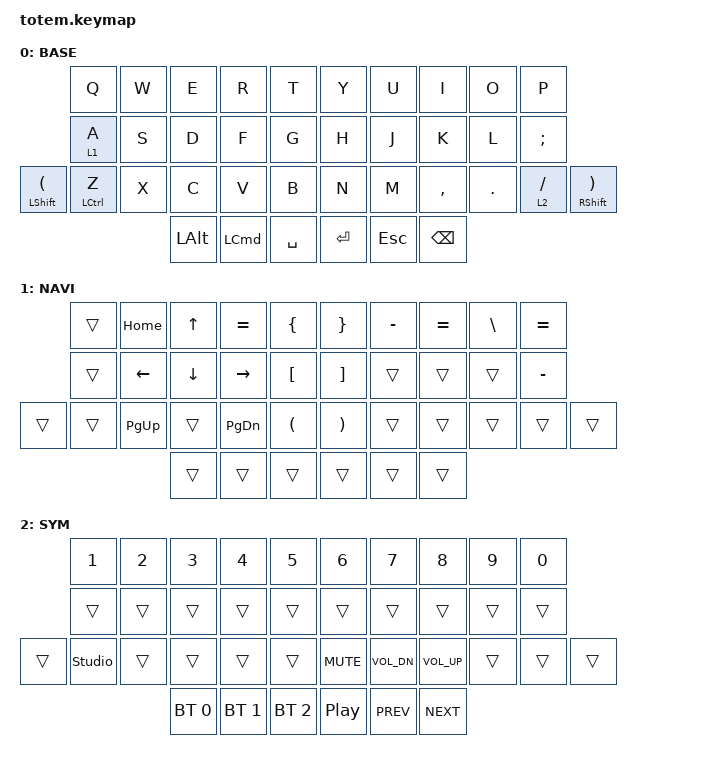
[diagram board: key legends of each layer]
/*
 * Copyright (c) 2020 The ZMK Contributors
 *
 * SPDX-License-Identifier: MIT
 */

#include <behaviors.dtsi>
#include <dt-bindings/zmk/bt.h>
#include <dt-bindings/zmk/keys.h>

/ {
    // combos {
    //    compatible = "zmk,combos";
    // 
    //    combo_esc {
    //        timeout-ms = <50>;
    //        key-positions = <0 1>;
    //        bindings = <&kp ESC>;
    //    };
    //
    //    combo_tvp {
    //        timeout-ms = <100>;
    //        key-positions = <11 12 13>;
    //        bindings = <&tog TVP1>;
    //    };
    //};
    //macros {
    //    gif: gif {
    //        label = "giphy";
    //        compatible = "zmk,behavior-macro";
    //        #binding-cells = <0>;
    //        bindings =
    //            <&macro_press>,
    //            <&kp LSHFT>,
    //            <&macro_tap>,
    //            <&kp N2>,
    //            <&macro_release>,
    //            <&kp LSHFT>,
    //            <&macro_tap>,
    //            <&kp G &kp I &kp F>;
    //    };
    //};

    keymap {
        compatible = "zmk,keymap";

        // ▄▄▄▄▄▄▄▄▄▄▄▄▄▄▄▄▄▄▄▄▄▄▄▄▄▄▄▄▄▄▄▄▄▄▄▄▄▄▄▄▄▄▄▄▄▄▄▄▄▄▄▄▄▄▄▄▄▄▄▄▄▄▄▄▄▄▄▄▄▄▄▄▄▄▄▄▄▄▄▄▄▄▄▄▄▄▄▄▄▄▄▄▄▄▄▄▄▄▄▄▄▄▄▄▄▄▄▄▄▄▄▄▄▄▄▄▄▄▄▄▄▄▄▄▄▄▄▄▄▄▄▄▄▄▄▄▄▄▄▄▄▄▄▄▄▄▄▄▄

        base_layer {
            // ┏━━━━━━━━━━━━━━━━━━━━━━━━━━━━━━━━━━━━━━━┓

            label = "BASE";

            // ┗━━━━━━━━━━━━━━━━━━━━━━━━━━━━━━━━━━━━━━━┛
            //             ┏━━━━━━━━━━━┳━━━━━━━━━━━┳━━━━━━━━━━━┳━━━━━━━━━━━┳━━━━━━━━━━━┓   ┏━━━━━━━━━━━┳━━━━━━━━━━━┳━━━━━━━━━━━┳━━━━━━━━━━━┳━━━━━━━━━━━┓
            //             ┃     Q     ┃     W     ┃     F     ┃     P     ┃     G     ┃   ┃     J     ┃     L     ┃     U     ┃     Y     ┃     ;     ┃
            //             ┣━━━━━━━━━━━╋━━━━━━━━━━━╋━━━━━━━━━━━╋━━━━━━━━━━━╋━━━━━━━━━━━┫   ┣━━━━━━━━━━━╋━━━━━━━━━━━╋━━━━━━━━━━━╋━━━━━━━━━━━╋━━━━━━━━━━━┫
            //             ┃     A     ┃     R     ┃     S     ┃     T     ┃     D     ┃   ┃     H     ┃     N     ┃     E     ┃     I     ┃     O     ┃
            // ┏━━━━━━━━━━━╋━━━━━━━━━━━╋━━━━━━━━━━━╋━━━━━━━━━━━╋━━━━━━━━━━━╋━━━━━━━━━━━┫   ┣━━━━━━━━━━━╋━━━━━━━━━━━╋━━━━━━━━━━━╋━━━━━━━━━━━╋━━━━━━━━━━━╋━━━━━━━━━━━┓
            // ┃     Q     ┃     Z     ┃     X     ┃     C     ┃     V     ┃     B     ┃   ┃     K     ┃     M     ┃     ,     ┃     .     ┃     /     ┃     \     ┃
            // ┗━━━━━━━━━━━┻━━━━━━━━━━━┻━━━━━━━━━━━╋━━━━━━━━━━━╋━━━━━━━━━━━╋━━━━━━━━━━━┫   ┣━━━━━━━━━━━╋━━━━━━━━━━━╋━━━━━━━━━━━╋━━━━━━━━━━━┻━━━━━━━━━━━┻━━━━━━━━━━━┛
            //                                     ┃    DEL    ┃    TAB    ┃    SPC    ┃   ┃   ENTER   ┃           ┃   BSPC    ┃
            //                                     ┗━━━━━━━━━━━┻━━━━━━━━━━━┻━━━━━━━━━━━┛   ┗━━━━━━━━━━━┻━━━━━━━━━━━┻━━━━━━━━━━━┛

            bindings = <
                                 &kp Q               &kp W  &kp E         &kp R             &kp T        &kp Y    &kp U        &kp I      &kp O    &kp P
                                 &lt 1 A             &kp S  &kp D         &kp F             &kp G        &kp H    &kp J        &kp K      &kp L    &kp SEMICOLON
&mt LEFT_SHIFT LEFT_PARENTHESIS  &mt LEFT_CONTROL Z  &kp X  &kp C         &kp V             &kp B        &kp N    &kp M        &kp COMMA  &kp DOT  &lt 2 FSLH     &mt RIGHT_SHIFT RIGHT_PARENTHESIS
                                                            &kp LEFT_ALT  &kp LEFT_COMMAND  &kp SPACE    &kp RET  &kp ESC      &kp BSPC
            >;
        };

        // ▄▄▄▄▄▄▄▄▄▄▄▄▄▄▄▄▄▄▄▄▄▄▄▄▄▄▄▄▄▄▄▄▄▄▄▄▄▄▄▄▄▄▄▄▄▄▄▄▄▄▄▄▄▄▄▄▄▄▄▄▄▄▄▄▄▄▄▄▄▄▄▄▄▄▄▄▄▄▄▄▄▄▄▄▄▄▄▄▄▄▄▄▄▄▄▄▄▄▄▄▄▄▄▄▄▄▄▄▄▄▄▄▄▄▄▄▄▄▄▄▄▄▄▄▄▄▄▄▄▄▄▄▄▄▄▄▄▄▄▄▄▄▄▄▄▄▄▄▄

        nav_layer {
            // ┏━━━━━━━━━━━━━━━━━━━━━━━━━━━━━━━━━━━━━━━┓

            label = "NAVI";

            // ┗━━━━━━━━━━━━━━━━━━━━━━━━━━━━━━━━━━━━━━━┛
            //             ┏━━━━━━━━━━━┳━━━━━━━━━━━┳━━━━━━━━━━━┳━━━━━━━━━━━┳━━━━━━━━━━━┓   ┏━━━━━━━━━━━┳━━━━━━━━━━━┳━━━━━━━━━━━┳━━━━━━━━━━━┳━━━━━━━━━━━┓
            //             ┃           ┃           ┃     UP    ┃           ┃     {     ┃   ┃     }     ┃     7     ┃     8     ┃     9     ┃     +     ┃
            //             ┣━━━━━━━━━━━╋━━━━━━━━━━━╋━━━━━━━━━━━╋━━━━━━━━━━━╋━━━━━━━━━━━┫   ┣━━━━━━━━━━━╋━━━━━━━━━━━╋━━━━━━━━━━━╋━━━━━━━━━━━╋━━━━━━━━━━━┫
            //             ┃   SHIFT   ┃   LEFT    ┃    DOWN   ┃   RIGHT   ┃     [     ┃   ┃     ]     ┃     4     ┃     5     ┃     6     ┃     -     ┃
            // ┏━━━━━━━━━━━╋━━━━━━━━━━━╋━━━━━━━━━━━╋━━━━━━━━━━━╋━━━━━━━━━━━╋━━━━━━━━━━━┫   ┣━━━━━━━━━━━╋━━━━━━━━━━━╋━━━━━━━━━━━╋━━━━━━━━━━━╋━━━━━━━━━━━╋━━━━━━━━━━━┓
            // ┃           ┃           ┃   P UP    ┃  C LOCK   ┃  P DOWN   ┃     (     ┃   ┃     )     ┃     1     ┃     2     ┃     3     ┃     *     ┃           ┃
            // ┗━━━━━━━━━━━┻━━━━━━━━━━━┻━━━━━━━━━━━╋━━━━━━━━━━━╋━━━━━━━━━━━╋━━━━━━━━━━━┫   ┣━━━━━━━━━━━╋━━━━━━━━━━━╋━━━━━━━━━━━╋━━━━━━━━━━━┻━━━━━━━━━━━┻━━━━━━━━━━━┛
            //                                     ┃           ┃    TAB    ┃    SPC    ┃   ┃    DEL    ┃     0     ┃           ┃
            //                                     ┗━━━━━━━━━━━┻━━━━━━━━━━━┻━━━━━━━━━━━┛   ┗━━━━━━━━━━━┻━━━━━━━━━━━┻━━━━━━━━━━━┛

            bindings = <
        &trans  &kp HOME   &kp UP    &kp EQUAL  &kp LBRC    &kp RBRC  &kp MINUS  &kp EQUAL  &kp BSLH  &kp EQUAL
        &trans  &kp LEFT   &kp DOWN  &kp RIGHT  &kp LBKT    &kp RBKT  &trans     &trans     &trans    &kp MINUS
&trans  &trans  &kp PG_UP  &trans    &kp PG_DN  &kp LPAR    &kp RPAR  &trans     &trans     &trans    &trans     &trans
                           &trans    &trans     &trans      &trans    &trans     &trans
            >;
        };

        // ▄▄▄▄▄▄▄▄▄▄▄▄▄▄▄▄▄▄▄▄▄▄▄▄▄▄▄▄▄▄▄▄▄▄▄▄▄▄▄▄▄▄▄▄▄▄▄▄▄▄▄▄▄▄▄▄▄▄▄▄▄▄▄▄▄▄▄▄▄▄▄▄▄▄▄▄▄▄▄▄▄▄▄▄▄▄▄▄▄▄▄▄▄▄▄▄▄▄▄▄▄▄▄▄▄▄▄▄▄▄▄▄▄▄▄▄▄▄▄▄▄▄▄▄▄▄▄▄▄▄▄▄▄▄▄▄▄▄▄▄▄▄▄▄▄▄▄▄▄

        sim_layer {
            // ┏━━━━━━━━━━━━━━━━━━━━━━━━━━━━━━━━━━━━━━━┓

            label = "SYM";

            // ┗━━━━━━━━━━━━━━━━━━━━━━━━━━━━━━━━━━━━━━━┛
            //             ┏━━━━━━━━━━━┳━━━━━━━━━━━┳━━━━━━━━━━━┳━━━━━━━━━━━┳━━━━━━━━━━━┓   ┏━━━━━━━━━━━┳━━━━━━━━━━━┳━━━━━━━━━━━┳━━━━━━━━━━━┳━━━━━━━━━━━┓
            //             ┃     !     ┃     @     ┃     #     ┃     $     ┃     %     ┃   ┃     ˆ     ┃     &     ┃     Ü     ┃     '     ┃     "     ┃
            //             ┣━━━━━━━━━━━╋━━━━━━━━━━━╋━━━━━━━━━━━╋━━━━━━━━━━━╋━━━━━━━━━━━┫   ┣━━━━━━━━━━━╋━━━━━━━━━━━╋━━━━━━━━━━━╋━━━━━━━━━━━╋━━━━━━━━━━━┫
            //             ┃     Ä     ┃           ┃    SZ     ┃           ┃           ┃   ┃   MUTE    ┃   YEN     ┃   EURO    ┃  POUND    ┃     Ö     ┃
            // ┏━━━━━━━━━━━╋━━━━━━━━━━━╋━━━━━━━━━━━╋━━━━━━━━━━━╋━━━━━━━━━━━╋━━━━━━━━━━━┫   ┣━━━━━━━━━━━╋━━━━━━━━━━━╋━━━━━━━━━━━╋━━━━━━━━━━━╋━━━━━━━━━━━╋━━━━━━━━━━━┓
            // ┃           ┃  EMAIL1   ┃  EMAIL2   ┃           ┃           ┃           ┃   ┃   VOL-    ┃   VOL+    ┃   LAST    ┃   NEXT    ┃     \     ┃           ┃
            // ┗━━━━━━━━━━━┻━━━━━━━━━━━┻━━━━━━━━━━━╋━━━━━━━━━━━╋━━━━━━━━━━━╋━━━━━━━━━━━┫   ┣━━━━━━━━━━━╋━━━━━━━━━━━╋━━━━━━━━━━━╋━━━━━━━━━━━┻━━━━━━━━━━━┻━━━━━━━━━━━┛
            //                                     ┃           ┃    GIF    ┃    ADJ    ┃   ┃           ┃           ┃           ┃
            //                                     ┗━━━━━━━━━━━┻━━━━━━━━━━━┻━━━━━━━━━━━┛   ┗━━━━━━━━━━━┻━━━━━━━━━━━┻━━━━━━━━━━━┛

            bindings = <
        &kp N1          &kp N2  &kp N3        &kp N4        &kp N5          &kp N6            &kp N7        &kp N8           &kp N9  &kp N0
        &trans          &trans  &trans        &trans        &trans          &trans            &trans        &trans           &trans  &trans
&trans  &studio_unlock  &trans  &trans        &trans        &trans          &kp C_MUTE        &kp C_VOL_DN  &kp C_VOLUME_UP  &trans  &trans  &trans
                                &bt BT_SEL 0  &bt BT_SEL 1  &bt BT_SEL 2    &kp C_PLAY_PAUSE  &kp C_PREV    &kp C_NEXT
            >;
        };
    };
};
